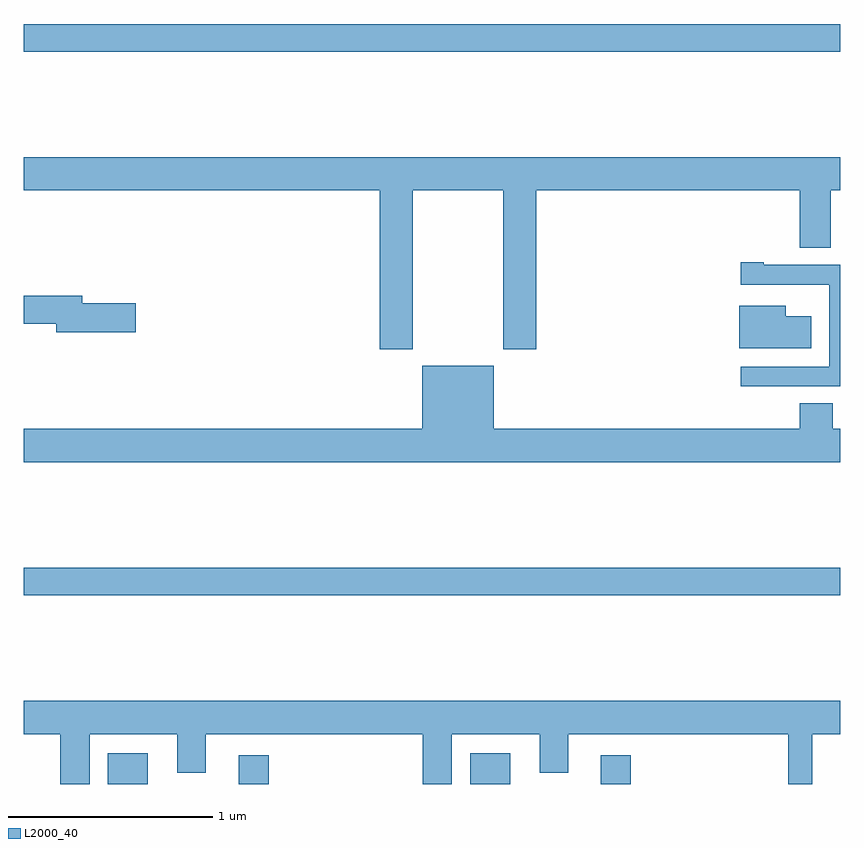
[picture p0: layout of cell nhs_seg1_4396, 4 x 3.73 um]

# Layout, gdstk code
import gdstk
lib = gdstk.Library(unit=1e-6, precision=1e-09)
def R(c, l, rs):  # rectangles x0, y0, x1, y1
    for r in rs: c.add(gdstk.rectangle(r[:2], r[2:], *l))
def P(c, l, *ps):  # polygons
    for p in ps: c.add(gdstk.Polygon(p, *l))
L2000_40 = (2000, 40)

nhs_seg1_4396 = lib.new_cell('nhs_seg1_4396')
R(nhs_seg1_4396, L2000_40, [(351.411,506.199,351.607,506.35), (352.052,506.199,352.199,506.341), (353.187,506.199,353.383,506.35), (353.828,506.199,353.975,506.341), (351,507.124,355,507.26), (351,509.788,355,509.924)])
P(nhs_seg1_4396, L2000_40, [(352.905,509.108),(353.35,509.108),(353.35,508.329),(353.51,508.329),(353.51,509.108),(354.803,509.108),(354.803,508.828),(354.955,508.828),(354.955,509.108),(355,509.108),(355,509.272),(351,509.272),(351,509.108),(352.745,509.108),(352.745,508.329),(352.905,508.329)],
  [(355,508.743),(354.625,508.743),(354.625,508.756),(354.513,508.756),(354.513,508.647),(354.947,508.647),(354.947,508.646),(354.948,508.646),(354.948,508.245),(354.513,508.245),(354.513,508.149),(355,508.149)],
  [(351.547,508.556),(351.286,508.556),(351.286,508.592),(351,508.592),(351,508.456),(351.158,508.456),(351.158,508.414),(351.547,508.414)],
  [(354.859,508.492),(354.733,508.492),(354.733,508.543),(354.506,508.543),(354.506,508.334),(354.859,508.334)],
  [(355,507.94),(354.963,507.94),(354.963,508.064),(354.803,508.064),(354.803,507.94),(353.302,507.94),(353.302,508.249),(352.952,508.249),(352.952,507.94),(351,507.94),(351,507.776),(355,507.776)],
  [(351.322,506.444),(351.752,506.444),(351.752,506.254),(351.892,506.254),(351.892,506.444),(352.955,506.444),(352.955,506.199),(353.098,506.199),(353.098,506.444),(353.528,506.444),(353.528,506.254),(353.668,506.254),(353.668,506.444),(354.745,506.444),(354.745,506.199),(354.863,506.199),(354.863,506.444),(355,506.444),(355,506.608),(351,506.608),(351,506.444),(351.179,506.444),(351.179,506.199),(351.322,506.199)])

lib.write_gds('nhs_seg1_4396.gds')
